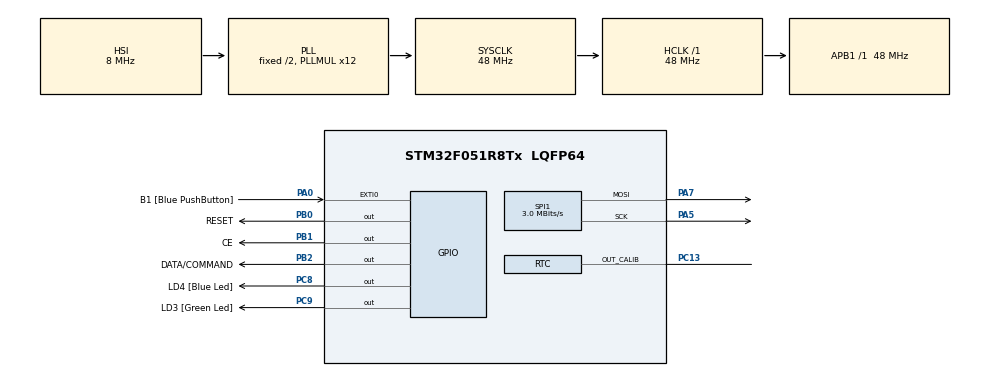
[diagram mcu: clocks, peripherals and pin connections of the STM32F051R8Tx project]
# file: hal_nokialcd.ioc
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ADC.DiscontinuousConvMode=ENABLE
ADC.LowPowerAutoPowerOff=ENABLE
Mcu.Family=STM32F0
Mcu.Name=STM32F051R8Tx
Mcu.Package=LQFP64
NVIC.ADC1_COMP_IRQn=true\:0\:0\:false\:false\:true
NVIC.EXTI0_1_IRQn=true\:2\:0\:true\:false\:true
NVIC.RTC_IRQn=true\:0\:0\:false\:false\:true
PA0.GPIO_Label=B1 [Blue PushButton]
PA0.GPIO_ModeDefaultEXTI=GPIO_MODE_IT_FALLING
PA0.Signal=GPXTI0
PA13.GPIO_Label=SWDIO
PA13.Mode=Serial_Wire
PA13.Signal=SYS_SWDIO
PA14.GPIO_Label=SWCLK
PA14.Mode=Serial_Wire
PA14.Signal=SYS_SWCLK
PA5.GPIO_PuPd=GPIO_PULLUP
PA5.Mode=TX_Only_Simplex_Unidirect_Master
PA5.Signal=SPI1_SCK
PA7.GPIO_PuPd=GPIO_PULLDOWN
PA7.Mode=TX_Only_Simplex_Unidirect_Master
PA7.Signal=SPI1_MOSI
PB0.GPIO_Label=RESET
PB0.GPIO_PuPd=GPIO_PULLUP
PB0.Signal=GPIO_Output
PB1.GPIO_Label=CE
PB1.GPIO_PuPd=GPIO_PULLUP
PB1.Signal=GPIO_Output
PB2.GPIO_Label=DATA/COMMAND
PB2.GPIO_PuPd=GPIO_NOPULL
PB2.Signal=GPIO_Output
PC13.Mode=Calibration_512Hz
PC13.Signal=RTC_OUT_CALIB
PC8.GPIO_Label=LD4 [Blue Led]
PC8.Signal=GPIO_Output
PC9.GPIO_Label=LD3 [Green Led]
PC9.Signal=GPIO_Output
ProjectManager.HeapSize=0x200
ProjectManager.StackSize=0x400
ProjectManager.TargetToolchain=MDK-ARM V5
RCC.AHBFreq_Value=48000000
RCC.APB1Freq_Value=48000000
RCC.APB1TimFreq_Value=48000000
RCC.HCLKFreq_Value=48000000
RCC.PLLMUL=RCC_PLL_MUL12
RCC.SYSCLKFreq_VALUE=48000000
RCC.SYSCLKSource=RCC_SYSCLKSOURCE_PLLCLK
RTC.AlarmMask-Alarm\ A=RTC_ALARMMASK_DATEWEEKDAY
RTC.Hours=23
RTC.Minutes=58
RTC.Minutes_A-Alarm\ A=1
RTC.Year=0
SPI1.BaudRatePrescaler=SPI_BAUDRATEPRESCALER_16
SPI1.CLKPhase=SPI_PHASE_2EDGE
SPI1.CLKPolarity=SPI_POLARITY_HIGH
SPI1.CalculateBaudRate=3.0 MBits/s
SPI1.DataSize=SPI_DATASIZE_8BIT
SPI1.Mode=SPI_MODE_MASTER
VP_ADC_TempSens_Input.Mode=IN-TempSens
VP_ADC_Vbat_Input.Mode=IN-Vbat
VP_ADC_Vref_Input.Mode=IN-Vrefint
VP_RTC_VS_RTC_Alarm_A_Intern.Mode=Alarm A
board=STM32F0DISCOVERY

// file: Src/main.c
/**
  ******************************************************************************
  * File Name          : main.c
  * Description        : Main program body
  ******************************************************************************
  *
  * COPYRIGHT(c) 2016 STMicroelectronics
  *
  * Redistribution and use in source and binary forms, with or without modification,
  * are permitted provided that the following conditions are met:
  *   1. Redistributions of source code must retain the above copyright notice,
  *      this list of conditions and the following disclaimer.
  *   2. Redistributions in binary form must reproduce the above copyright notice,
  *      this list of conditions and the following disclaimer in the documentation
  *      and/or other materials provided with the distribution.
  *   3. Neither the name of STMicroelectronics nor the names of its contributors
  *      may be used to endorse or promote products derived from this software
  *      without specific prior written permission.
  *
  * THIS SOFTWARE IS PROVIDED BY THE COPYRIGHT HOLDERS AND CONTRIBUTORS "AS IS"
  * AND ANY EXPRESS OR IMPLIED WARRANTIES, INCLUDING, BUT NOT LIMITED TO, THE
  * IMPLIED WARRANTIES OF MERCHANTABILITY AND FITNESS FOR A PARTICULAR PURPOSE ARE
  * DISCLAIMED. IN NO EVENT SHALL THE COPYRIGHT HOLDER OR CONTRIBUTORS BE LIABLE
  * FOR ANY DIRECT, INDIRECT, INCIDENTAL, SPECIAL, EXEMPLARY, OR CONSEQUENTIAL
  * DAMAGES (INCLUDING, BUT NOT LIMITED TO, PROCUREMENT OF SUBSTITUTE GOODS OR
  * SERVICES; LOSS OF USE, DATA, OR PROFITS; OR BUSINESS INTERRUPTION) HOWEVER
  * CAUSED AND ON ANY THEORY OF LIABILITY, WHETHER IN CONTRACT, STRICT LIABILITY,
  * OR TORT (INCLUDING NEGLIGENCE OR OTHERWISE) ARISING IN ANY WAY OUT OF THE USE
  * OF THIS SOFTWARE, EVEN IF ADVISED OF THE POSSIBILITY OF SUCH DAMAGE.
  *
  ******************************************************************************
  */
#include "stm32f0xx_hal.h"
#include "adc.h"
#include "rtc.h"
#include "spi.h"
#include "gpio.h"

/* USER CODE BEGIN Includes */
#include "stm32f0308_discovery.h"
#include "lcd.h"
#include "stm32f0xx_lp_modes.h"
/* USER CODE END Includes */

/* USER CODE BEGIN PV */
/* Private variables ---------------------------------------------------------*/

uint8_t aShowTime[50] = {0};
uint8_t alarm_status = 0;

/* USER CODE END PV */

void SystemClock_Config(void);
void Error_Handler(void);

/* USER CODE BEGIN PFP */
/* Private function prototypes -----------------------------------------------*/

/* USER CODE END PFP */

int main(void)
{

  /* MCU Configuration----------------------------------------------------------*/

  /* Reset of all peripherals, Initializes the Flash interface and the Systick. */
  HAL_Init();

  /* Configure the system clock */
  SystemClock_Config();

  /* Initialize all configured peripherals */
  MX_GPIO_Init();
  MX_ADC_Init();
  MX_RTC_Init();
  MX_SPI1_Init();

  /* USER CODE BEGIN 2 */

	LCDInit();
	LCDContrast(0x45);
	LCDClear();
	LCDStr ( 0, "   LCD Test   ", 0 );
	LCDStr ( 1, "  SUCCESS!!!  ", 0 );
	LCDStr ( 5, "exit          ", 1 );
	LCDUpdate();

	HAL_Delay(5000);

	LCDClear();
	LCDStr ( 0, "   RTC Test   ", 0 );
  /* USER CODE END 2 */

  /* Infinite loop */
  /* USER CODE BEGIN WHILE */
  while (1)
  {
			BSP_LED_Toggle(LED_GREEN);
			RTC_TimeShow(aShowTime);
			LCDStr( 2, aShowTime, 0 );
			LCDUpdate();

			//ADC_read(&adc_val);
			//HAL_ADC_Start_IT(&hadc);
			HAL_Delay(5000);
			StopMode_Measure();
  /* USER CODE END WHILE */

  }

}

/** System Clock Configuration
*/
void SystemClock_Config(void)
{

  RCC_OscInitTypeDef RCC_OscInitStruct;
  RCC_ClkInitTypeDef RCC_ClkInitStruct;
  RCC_PeriphCLKInitTypeDef PeriphClkInit;

  RCC_OscInitStruct.OscillatorType = RCC_OSCILLATORTYPE_HSI|RCC_OSCILLATORTYPE_HSI14
                              |RCC_OSCILLATORTYPE_LSI;
  RCC_OscInitStruct.HSIState = RCC_HSI_ON;
  RCC_OscInitStruct.HSI14State = RCC_HSI14_ON;
  RCC_OscInitStruct.HSICalibrationValue = 16;
  RCC_OscInitStruct.HSI14CalibrationValue = 16;
  RCC_OscInitStruct.LSIState = RCC_LSI_ON;
  RCC_OscInitStruct.PLL.PLLState = RCC_PLL_ON;
  RCC_OscInitStruct.PLL.PLLSource = RCC_PLLSOURCE_HSI;
  RCC_OscInitStruct.PLL.PLLMUL = RCC_PLL_MUL12;
  RCC_OscInitStruct.PLL.PREDIV = RCC_PREDIV_DIV1;
  if (HAL_RCC_OscConfig(&RCC_OscInitStruct) != HAL_OK)
  {
    Error_Handler();
  }

  RCC_ClkInitStruct.ClockType = RCC_CLOCKTYPE_HCLK|RCC_CLOCKTYPE_SYSCLK
                              |RCC_CLOCKTYPE_PCLK1;
  RCC_ClkInitStruct.SYSCLKSource = RCC_SYSCLKSOURCE_PLLCLK;
  RCC_ClkInitStruct.AHBCLKDivider = RCC_SYSCLK_DIV1;
  RCC_ClkInitStruct.APB1CLKDivider = RCC_HCLK_DIV1;
  if (HAL_RCC_ClockConfig(&RCC_ClkInitStruct, FLASH_LATENCY_1) != HAL_OK)
  {
    Error_Handler();
  }

  PeriphClkInit.PeriphClockSelection = RCC_PERIPHCLK_RTC;
  PeriphClkInit.RTCClockSelection = RCC_RTCCLKSOURCE_LSI;
  if (HAL_RCCEx_PeriphCLKConfig(&PeriphClkInit) != HAL_OK)
  {
    Error_Handler();
  }

  HAL_SYSTICK_Config(HAL_RCC_GetHCLKFreq()/1000);

  HAL_SYSTICK_CLKSourceConfig(SYSTICK_CLKSOURCE_HCLK);

  /* SysTick_IRQn interrupt configuration */
  HAL_NVIC_SetPriority(SysTick_IRQn, 0, 0);
}

/* USER CODE BEGIN 4 */

/**
  * @brief  Alarm callback
  * @param  hrtc : RTC handle
  * @retval None
  */
void HAL_RTC_AlarmAEventCallback(RTC_HandleTypeDef *hrtc)
{
  /* Turn LED3 on: Alarm generation */
  BSP_LED_On(LED_BLUE);
	LCDStr( 3, "Alarm", 0 );
	LCDUpdate();
}

/**
  * @brief EXTI line detection callbacks
  * @param GPIO_Pin: Specifies the pins connected EXTI line
  * @retval None
  */
void HAL_GPIO_EXTI_Callback(uint16_t GPIO_Pin)
{
  if (GPIO_Pin == USER_BUTTON_PIN)
  {
    /* Toggle LED2 */
    BSP_LED_Toggle(LED_BLUE);
  }
}

/* USER CODE END 4 */

void Error_Handler(void)
{
  while(1)
  {
  }
}

/************************ (C) COPYRIGHT STMicroelectronics *****END OF FILE****/
